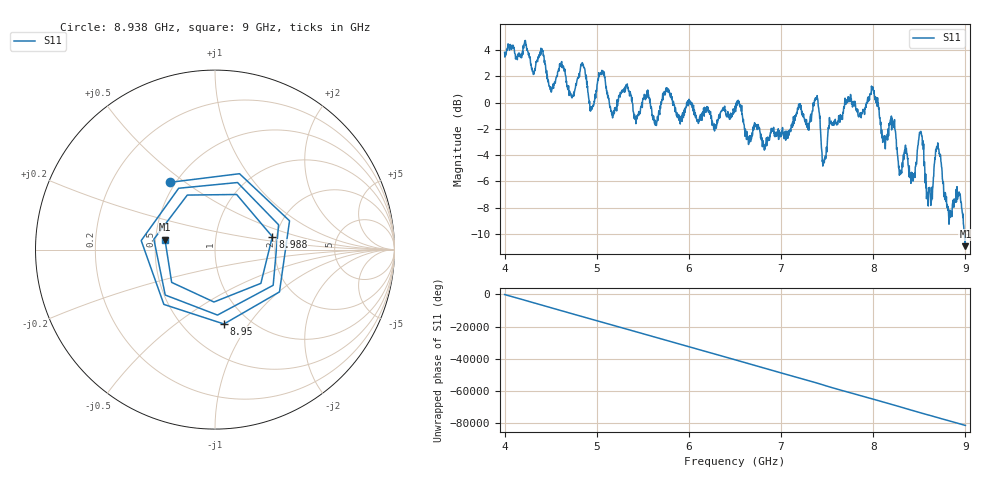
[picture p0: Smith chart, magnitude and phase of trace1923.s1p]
! Created with skrf 1.8.0 (http://scikit-rf.org).
# Hz S RI R 50.0
!freq ReS11 ImS11
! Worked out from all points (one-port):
!   1601 points, 4 GHz to 9 GHz, reference 50 ohm
!   lowest |S11| = -10.9 dB at 9 GHz (marker M1), VSWR 1.79, Z = 28.1 + j3.35 ohm
!   |S11| at or under -10 dB: 8.991122 GHz to end of sweep
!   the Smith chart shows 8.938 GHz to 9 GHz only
!   S11 on the Smith chart (normalised r, x): 8.938 GHz: 0.47, +0.44; 8.95 GHz: 0.77, -0.77; 8.988 GHz: 1.91, +0.31; 9 GHz: 0.56, +0.07
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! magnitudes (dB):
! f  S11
! 4 GHz  3.8
! 4.506 GHz  0.8
! 4.625 GHz  2.9
! 4.731 GHz  0.4
! 4.85 GHz  2.8
! 4.944 GHz  -0.4
! 5.047 GHz  2.1
! 5.166 GHz  -1.0
! 5.25 GHz  0.6
! 5.875 GHz  -1.1
! 6.5 GHz  -0.4
! 6.819 GHz  -3.6
! 7.125 GHz  -1.5
! 7.384 GHz  0.2
! 7.472 GHz  -4.2
! 7.75 GHz  0.2
! 8 GHz  1.0
! 8.112 GHz  -2.8
! 8.375 GHz  -4.2
! 8.434 GHz  -6.0
! 8.516 GHz  -2.2
! 8.603 GHz  -6.7
! 8.7 GHz  -3.1
! 8.822 GHz  -9.3
! 8.938 GHz  -6.9
! 8.95 GHz  -7.6
! 8.988 GHz  -9.7
! 9 GHz  -10.9
